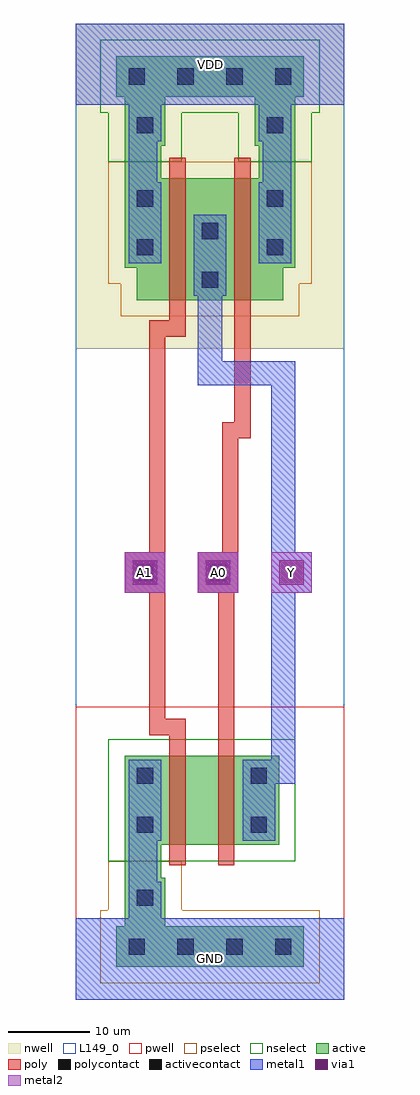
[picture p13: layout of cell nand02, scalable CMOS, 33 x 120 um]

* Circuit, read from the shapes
.subckt nand02 A0 A1 GND VDD Y
M1 n1 A1 GND GND nfet w=11u l=2u
M2 Y A0 n1 GND nfet w=11u l=2u
M3 Y A1 VDD VDD pfet w=15u l=2u
M4 VDD A0 Y VDD pfet w=15u l=2u
.ends

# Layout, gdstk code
import gdstk
lib = gdstk.Library(unit=1e-6, precision=1e-09)
def R(c, l, rs):  # rectangles x0, y0, x1, y1
    for r in rs: c.add(gdstk.rectangle(r[:2], r[2:], *l))
def A(c, l, x, y, w, h, nx, ny, dx, dy):  # array of equal rectangles
    R(c, l, [(x+i*dx, y+j*dy, x+i*dx+w, y+j*dy+h) for i in range(nx) for j in range(ny)])
def P(c, l, *ps):  # polygons
    for p in ps: c.add(gdstk.Polygon(p, *l))
pwell = (41, 0)
nwell = (42, 0)
active = (43, 0)
pselect = (44, 0)
nselect = (45, 0)
poly = (46, 0)
polycontact = (47, 0)
activecontact = (48, 0)
metal1 = (49, 0)
via1 = (50, 0)
metal2 = (51, 0)
L149_0 = (149, 0)

via = lib.new_cell('via')
R(via, metal1, [(-2.5,-2.5,2.5,2.5)])
R(via, via1, [(-1.5,-1.5,1.5,1.5)])
R(via, metal2, [(-2.5,-2.5,2.5,2.5)])

nand02 = lib.new_cell('nand02')
R(nand02, pwell, [(0,0,33,36), (0,13,31,36)])
R(nand02, nwell, [(0,80,33,120)])
P(nand02, nwell, [(1.5,80),(1.5,84),(0,84),(0,107),(33,107),(33,84),(31.5,84),(31.5,80)])
R(nand02, active, [(5,4,28,9), (6,9,11,15), (6,15,10.5,19), (6,19,11.5,30), (6,19,25,30), (19.5,19,25,30), (6,101,10.5,105), (22.5,101,27,105), (6,105,11,111), (22,105,27,111), (5,111,28,116)])
P(nand02, active, [(21.5,86),(21.5,101),(27,101),(27,90),(25.5,90),(25.5,86)],
  [(7.5,86),(7.5,90),(6,90),(6,101),(27,101),(27,90),(25.5,90),(25.5,86)],
  [(7.5,86),(7.5,90),(6,90),(6,101),(11.5,101),(11.5,86)])
R(nand02, pselect, [(3,2,30,11), (4,11,13,17)])
P(nand02, pselect, [(5.5,84),(5.5,88),(4,88),(4,103),(29,103),(29,88),(27.5,88),(27.5,84)])
R(nand02, nselect, [(4,17,27,32), (4,103,13,109), (20,103,29,109), (3,109,30,118)])
R(nand02, poly, [(11.5,16.5,13.5,19), (17.5,16.5,19.5,19), (11.5,19,13.5,30), (17.5,19,19.5,30), (11.5,30,13.5,32.5), (17.5,30,19.5,32.5), (6,50,11,55), (15,50,20,55), (11.5,83.5,13.5,86), (19.5,83.5,21.5,86), (11.5,86,13.5,101), (19.5,86,21.5,101), (11.5,101,13.5,103.5), (19.5,101,21.5,103.5)])
R(nand02, polycontact, [(7.5,51.5,9.5,53.5), (16.5,51.5,18.5,53.5)])
A(nand02, activecontact, 6.5, 5.5, 2, 2, 4, 2, 6, 107)
R(nand02, activecontact, [(7.5,11.5,9.5,13.5), (7.5,20.5,9.5,22.5), (21.5,20.5,23.5,22.5), (7.5,26.5,9.5,28.5), (21.5,26.5,23.5,28.5), (15.5,87.5,17.5,89.5), (7.5,91.5,9.5,93.5), (23.5,91.5,25.5,93.5), (15.5,93.5,17.5,95.5), (7.5,97.5,9.5,99.5), (23.5,97.5,25.5,99.5), (7.5,106.5,9.5,108.5), (23.5,106.5,25.5,108.5)])
R(nand02, metal1, [(0,0,33,10), (0,0,33,10), (6.5,10,10.5,14.5), (6.5,14.5,10,19.5), (6.5,19.5,10.5,29.5), (20.5,19.5,24.5,29.5), (6.5,50.5,10.5,54.5), (15.5,50.5,19.5,54.5), (14.5,86.5,18.5,96.5), (6.5,90.5,10.5,100.5), (22.5,90.5,26.5,100.5), (6.5,100.5,10,105.5), (23,100.5,26.5,105.5), (6.5,105.5,10.5,110), (22.5,105.5,26.5,110), (0,110,33,120), (0,110,33,120)])
A(nand02, metal2, 6, 50, 5, 5, 3, 1, 9, 0)
R(nand02, L149_0, [(0,0,33,120)])
nand02.add(gdstk.FlexPath([(16.5,86.5),(16.5,77),(25.5,77),(25.5,55)], 3, ends="flush", simple_path=True, layer=49, datatype=0))  # metal1
nand02.add(gdstk.FlexPath([(25.5,50),(25.5,26.5)], 3, ends="flush", simple_path=True, layer=49, datatype=0))  # metal1
nand02.add(gdstk.FlexPath([(20.5,83.5),(20.5,70),(19,70),(19,55)], 2, ends="flush", simple_path=True, layer=46, datatype=0))  # poly
nand02.add(gdstk.FlexPath([(10,50),(10,33.5),(13.5,33.5)], 2, ends="flush", simple_path=True, layer=46, datatype=0))  # poly
nand02.add(gdstk.FlexPath([(13.5,82.5),(10,82.5),(10,55)], 2, ends="flush", simple_path=True, layer=46, datatype=0))  # poly
nand02.add(gdstk.FlexPath([(18.5,32.5),(18.5,50)], 2, ends="flush", simple_path=True, layer=46, datatype=0))  # poly
nand02.add(gdstk.Reference(via, (17.5,52.5)))
nand02.add(gdstk.Reference(via, (8.5,52.5)))
nand02.add(gdstk.Reference(via, (26.5,52.5)))
nand02.add(gdstk.Label('GND', (16.5,5), layer=2, texttype=0))
nand02.add(gdstk.Label('VDD', (16.5,115), layer=2, texttype=0))
nand02.add(gdstk.Label('A1', (8.5,52.5), layer=3, texttype=0))
nand02.add(gdstk.Label('A0', (17.5,52.5), layer=3, texttype=0))
nand02.add(gdstk.Label('Y', (26.5,52.5), layer=3, texttype=0))
nand02.add(gdstk.Label('GND', (16.5,5), layer=2, texttype=0))
nand02.add(gdstk.Label('VDD', (16.5,115), layer=2, texttype=0))
nand02.add(gdstk.Label('A1', (8.5,52.5), layer=3, texttype=0))
nand02.add(gdstk.Label('A0', (17.5,52.5), layer=3, texttype=0))
nand02.add(gdstk.Label('Y', (26.5,52.5), layer=3, texttype=0))

lib.write_gds('nand02.gds')
